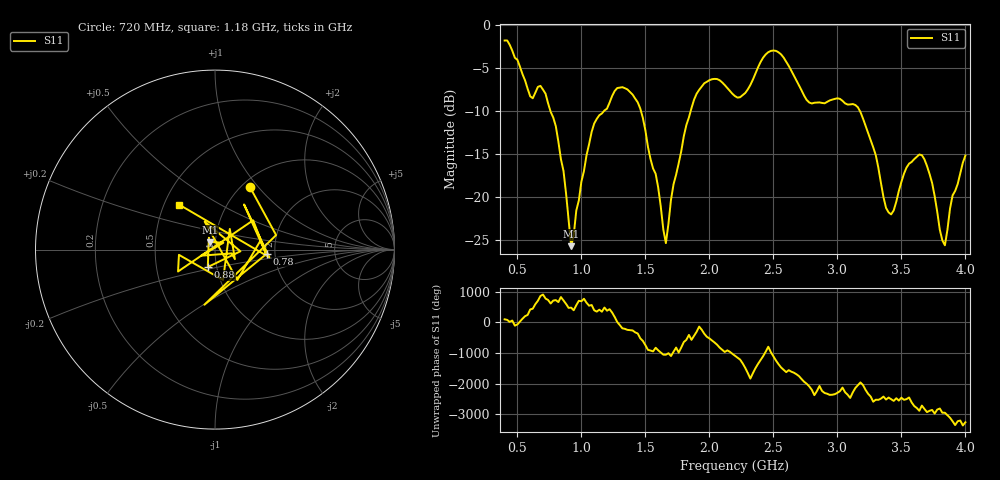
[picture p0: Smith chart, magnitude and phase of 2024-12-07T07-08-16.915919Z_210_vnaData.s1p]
!Created with skrf (http://scikit-rf.org).
# Hz S RI R 50.0
!freq ReS11 ImS11
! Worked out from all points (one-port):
!   181 points, 400 MHz to 4 GHz, reference 50 ohm
!   lowest |S11| = -25.7 dB at 920 MHz (marker M1), VSWR 1.11, Z = 47 + j4.03 ohm
!   |S11| at or under -10 dB: 758 MHz to 1.176 GHz (418.3 MHz wide, 43.2 % of centre); 1.465 GHz to 1.854 GHz (388.4 MHz wide, 23.4 % of centre); 3.176 GHz to end of sweep
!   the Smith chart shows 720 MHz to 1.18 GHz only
!   S11 on the Smith chart (normalised r, x): 720 MHz: 1.09, +0.90; 780 MHz: 1.81, -0.09; 880 MHz: 0.91, -0.18; 1.18 GHz: 0.60, +0.33
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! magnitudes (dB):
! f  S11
! 400 MHz  -1.8
! 600 MHz  -8.3
! 720 MHz  -8.0
! 780 MHz  -10.8
! 860 MHz  -17.0
! 880 MHz  -19.6
! 920 MHz  -25.7
! 1.08 GHz  -12.4
! 1.18 GHz  -9.9
! 1.3 GHz  -7.3
! 1.46 GHz  -9.7
! 1.58 GHz  -17.3
! 1.66 GHz  -25.3
! 1.76 GHz  -16.1
! 1.88 GHz  -8.7
! 1.96 GHz  -6.8
! 2.2 GHz  -8.3
! 2.48 GHz  -3.0
! 2.66 GHz  -5.9
! 2.78 GHz  -9.0
! 3.1 GHz  -9.2
! 3.2 GHz  -10.9
! 3.4 GHz  -21.8
! 3.56 GHz  -16.1
! 3.68 GHz  -15.6
! 3.84 GHz  -25.6
! 3.9 GHz  -19.8
! 4 GHz  -15.2
